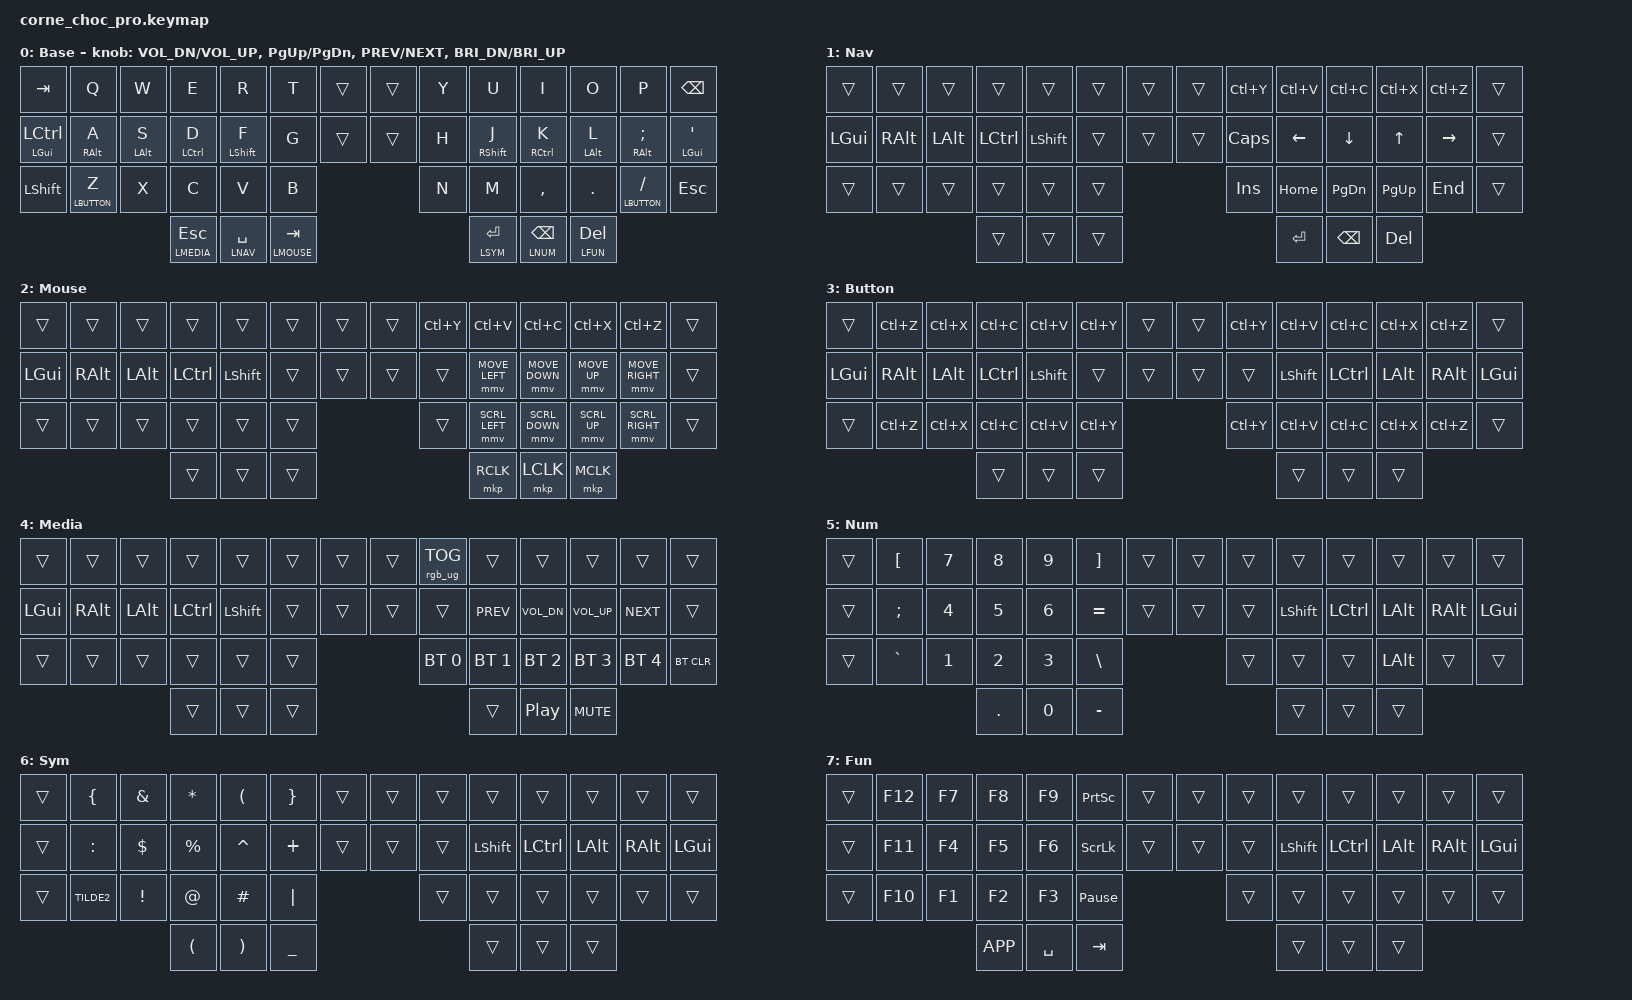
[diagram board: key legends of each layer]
/*
 * Copyright (c) 2020 The ZMK Contributors
 *
 * SPDX-License-Identifier: MIT
 */

#include <behaviors.dtsi>
#include <dt-bindings/zmk/keys.h>
#include <dt-bindings/zmk/bt.h>
#include <dt-bindings/zmk/rgb.h>
#include <dt-bindings/zmk/pointing.h>

#define LBASE 0
#define LNAV   1
#define LMOUSE   2
#define LBUTTON   3
#define LMEDIA   4
#define LNUM   5
#define LSYM   6
#define LFUN   7

/ {
    chosen {
        zmk,physical-layout = &default_layout;
    };
};

/ {
    keymap {
        compatible = "zmk,keymap";

        LBASE {
            display-name = "Base";
            bindings = <
            // |------------|------------|------------|------------|------------|------------|-------|------|------------|------------|------------|------------|------------|------------|
                &kp TAB      &kp Q        &kp W        &kp E        &kp R        &kp T        &trans  &trans &kp Y        &kp U        &kp I        &kp O        &kp P        &kp BSPC
            // |------------|------------|------------|------------|------------|------------|-------|------|------------|------------|------------|------------|------------|------------|
                &mt LGUI LCTRL &mt RALT A   &mt LALT S   &mt LCTRL D  &mt LSHFT F  &kp G      &trans  &trans &kp H        &mt RSHIFT J &mt RCTRL K  &mt LALT L   &mt RALT SEMI &mt LGUI SQT
            // |------------|------------|------------|------------|------------|------------|-------|------|------------|------------|------------|------------|------------|------------|
                &kp LSHFT    &lt LBUTTON Z &kp X       &kp C        &kp V        &kp B                       &kp N        &kp M        &kp COMMA    &kp DOT      &lt LBUTTON FSLH  &kp ESC
            // |------------|------------|------------|------------|------------|------------|-------|------|------------|------------|------------|------------|------------|------------|
                                                       &lt LMEDIA ESC    &lt LNAV SPACE  &lt LMOUSE TAB                   &lt LSYM RET     &lt LNUM BSPC  &lt LFUN DEL
            >;
            sensor-bindings = <&inc_dec_kp C_VOL_DN C_VOL_UP &inc_dec_kp PG_UP PG_DN &inc_dec_kp C_PREV C_NEXT &inc_dec_kp C_BRI_DN C_BRI_UP>;
        };

        LNAV {
            display-name = "Nav";
            bindings = <
            // |------------|------------|------------|------------|------------|------------|-------|------|------------|------------|------------|------------|------------|------------|            
                &trans       &trans       &trans       &trans       &trans       &trans       &trans  &trans &kp LC(Y)    &kp LC(V)    &kp LC(C)    &kp LC(X)    &kp LC(Z)    &trans
            // |------------|------------|------------|------------|------------|------------|-------|------|------------|------------|------------|------------|------------|------------|
                &kp LGUI     &kp RALT     &kp LALT     &kp LCTRL    &kp LSHFT    &trans       &trans  &trans &kp CAPS     &kp LEFT     &kp DOWN     &kp UP       &kp RIGHT    &trans
            // |------------|------------|------------|------------|------------|------------|-------|------|------------|------------|------------|------------|------------|------------|
                &trans       &trans       &trans       &trans       &trans       &trans                      &kp INS      &kp HOME     &kp PG_DN    &kp PG_UP    &kp END      &trans
            // |------------|------------|------------|------------|------------|------------|-------|------|------------|------------|------------|------------|------------|------------|
                                                       &trans       &trans       &trans                      &kp RET     &kp BSPC  &kp DEL
            >;
        };

        LMOUSE {
            display-name = "Mouse";
             bindings = <
            // |------------|------------|------------|------------|------------|------------|-------|------|------------|------------|------------|------------|------------|------------|
                &trans       &trans       &trans       &trans       &trans       &trans       &trans  &trans &kp LC(Y)    &kp LC(V)    &kp LC(C)    &kp LC(X)    &kp LC(Z)    &trans
            // |------------|------------|------------|------------|------------|------------|-------|------|------------|------------|------------|------------|------------|------------|
                &kp LGUI     &kp RALT     &kp LALT     &kp LCTRL    &kp LSHFT    &trans       &trans  &trans &trans       &mmv MOVE_LEFT &mmv MOVE_DOWN   &mmv MOVE_UP   &mmv MOVE_RIGHT  &trans
            // |------------|------------|------------|------------|------------|------------|-------|------|------------|------------|------------|------------|------------|------------|      
                &trans       &trans       &trans       &trans       &trans       &trans                      &trans       &mmv SCRL_LEFT &mmv SCRL_DOWN   &mmv SCRL_UP   &mmv SCRL_RIGHT  &trans
            // |------------|------------|------------|------------|------------|------------|-------|------|------------|------------|------------|------------|------------|------------|
                                                       &trans       &trans       &trans                      &mkp RCLK    &mkp LCLK  &mkp MCLK
            >;
        };
        
        LBUTTON {    
            display-name = "Button";
             bindings = <
            // |------------|------------|------------|------------|------------|------------|-------|------|------------|------------|------------|------------|------------|------------|
                &trans       &kp LC(Z)    &kp LC(X)   &kp LC(C)     &kp LC(V)    &kp LC(Y)    &trans  &trans &kp LC(Y)    &kp LC(V)    &kp LC(C)    &kp LC(X)    &kp LC(Z)    &trans
            // |------------|------------|------------|------------|------------|------------|-------|------|------------|------------|------------|------------|------------|------------|
                &kp LGUI     &kp RALT     &kp LALT     &kp LCTRL    &kp LSHFT    &trans       &trans  &trans &trans       &kp LSHFT    &kp LCTRL    &kp LALT     &kp RALT     &kp LGUI     
            // |------------|------------|------------|------------|------------|------------|-------|------|------------|------------|------------|------------|------------|------------|
                &trans       &kp LC(Z)    &kp LC(X)   &kp LC(C)     &kp LC(V)    &kp LC(Y)                   &kp LC(Y)    &kp LC(V)    &kp LC(C)    &kp LC(X)    &kp LC(Z)    &trans
            // |------------|------------|------------|------------|------------|------------|-------|------|------------|------------|------------|------------|------------|------------|
                                                       &trans       &trans       &trans                      &trans       &trans  &trans
            >;
        };

        LMEDIA {
            display-name = "Media";
             bindings = <
            // |------------|------------|------------|------------|------------|------------|-------|------|------------|------------|------------|------------|------------|------------|
                &trans       &trans       &trans       &trans       &trans       &trans       &trans  &trans &rgb_ug RGB_TOG &trans    &trans       &trans       &trans       &trans
            // |------------|------------|------------|------------|------------|------------|-------|------|------------|------------|------------|------------|------------|------------|
                &kp LGUI     &kp RALT     &kp LALT     &kp LCTRL    &kp LSHFT    &trans       &trans  &trans &trans       &kp C_PREV   &kp C_VOL_DN &kp C_VOL_UP &kp C_NEXT   &trans
            // |------------|------------|------------|------------|------------|------------|-------|------|------------|------------|------------|------------|------------|------------|
                &trans       &trans       &trans       &trans       &trans       &trans                      &bt BT_SEL 0  &bt BT_SEL 1 &bt BT_SEL 2 &bt BT_SEL 3 &bt BT_SEL 4 &bt BT_CLR
            // |------------|------------|------------|------------|------------|------------|-------|------|------------|------------|------------|------------|------------|------------|
                                                       &trans       &trans       &trans                      &trans          &kp C_PP  &kp C_MUTE
            >;
        };

        LNUM {
            display-name = "Num";
             bindings = <
            // |------------|------------|------------|------------|------------|------------|-------|------|------------|------------|------------|------------|------------|------------|
                &trans       &kp LBKT     &kp N7       &kp N8       &kp N9       &kp RBKT     &trans  &trans &trans       &trans       &trans       &trans       &trans       &trans
            // |------------|------------|------------|------------|------------|------------|-------|------|------------|------------|------------|------------|------------|------------|
                &trans       &kp SEMI     &kp N4       &kp N5       &kp N6       &kp EQUAL    &trans  &trans &trans       &kp LSHFT    &kp LCTRL    &kp LALT     &kp RALT     &kp LGUI     
            // |------------|------------|------------|------------|------------|------------|-------|------|------------|------------|------------|------------|------------|------------|
                &trans       &kp GRAVE    &kp N1       &kp N2       &kp N3       &kp BSLH                    &trans       &trans       &trans       &kp LALT     &trans       &trans
            // |------------|------------|------------|------------|------------|------------|-------|------|------------|------------|------------|------------|------------|------------|
                                                       &kp DOT      &kp N0       &kp MINUS                   &trans       &trans  &trans
            >;
        };

        LSYM {
            display-name = "Sym";
             bindings = <
            // |------------|------------|------------|------------|------------|------------|-------|------|------------|------------|------------|------------|------------|------------|
                &trans       &kp LBRC     &kp AMPS     &kp STAR     &kp LPAR     &kp RBRC     &trans  &trans &trans       &trans       &trans       &trans       &trans       &trans
            // |------------|------------|------------|------------|------------|------------|-------|------|------------|------------|------------|------------|------------|------------|
                &trans       &kp COLON    &kp DLLR     &kp PRCNT    &kp CARET    &kp PLUS     &trans  &trans &trans       &kp LSHFT    &kp LCTRL    &kp LALT     &kp RALT     &kp LGUI     
            // |------------|------------|------------|------------|------------|------------|-------|------|------------|------------|------------|------------|------------|------------|
                &trans       &kp TILDE2   &kp EXCL     &kp AT       &kp HASH     &kp PIPE                    &trans       &trans       &trans       &trans       &trans       &trans
            // |------------|------------|------------|------------|------------|------------|-------|------|------------|------------|------------|------------|------------|------------|
                                                       &kp LPAR     &kp RPAR     &kp UNDER                   &trans       &trans  &trans
            >;
        };

        LFUN {
            display-name = "Fun";
             bindings = <
            // |------------|------------|------------|------------|------------|------------|-------|------|------------|------------|------------|------------|------------|------------|
                &trans       &kp F12       &kp F7       &kp F8       &kp F9       &kp PSCRN   &trans  &trans &trans       &trans       &trans       &trans       &trans       &trans
            // |------------|------------|------------|------------|------------|------------|-------|------|------------|------------|------------|------------|------------|------------|
                &trans       &kp F11       &kp F4       &kp F5       &kp F6       &kp SLCK    &trans  &trans &trans       &kp LSHFT    &kp LCTRL    &kp LALT     &kp RALT     &kp LGUI     
            // |------------|------------|------------|------------|------------|------------|-------|------|------------|------------|------------|------------|------------|------------|
                &trans       &kp F10       &kp F1       &kp F2       &kp F3       &kp PAUSE_BREAK            &trans       &trans       &trans       &trans       &trans       &trans
            // |------------|------------|------------|------------|------------|------------|-------|------|------------|------------|------------|------------|------------|------------|
                                                        &kp K_APP      &kp SPACE       &kp TAB                 &trans       &trans  &trans
            >;
        };

    };
};
